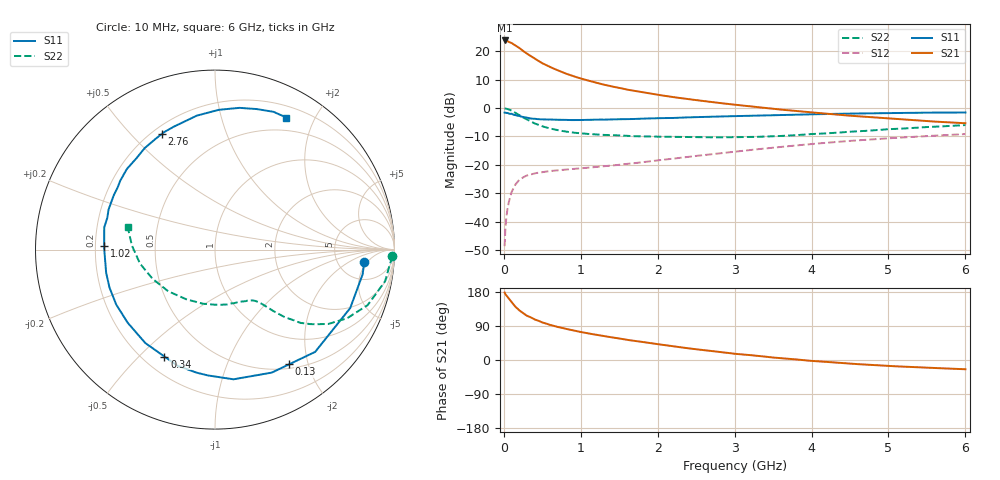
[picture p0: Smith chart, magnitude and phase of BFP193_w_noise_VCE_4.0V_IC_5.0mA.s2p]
! Infineon Technologies  Discrete & RF Semiconductors
! BFP193
! VCE = 4.0 V,  IC =  5.0 mA
! Common Emitter S-Parameters:  Jan 2016
# GHz  S  MA  R  50
!  f  S11  S21  S12  S22
! GHz  MAG  ANG  MAG  ANG  MAG  ANG  MAG  ANG
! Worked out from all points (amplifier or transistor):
!   210 points, 10 MHz to 6 GHz, reference 50 ohm
!   highest |S21| = 23.8 dB at 10 MHz (marker M1)
!   |S21| within 3 dB of that: start of sweep to 217.5 MHz
!   unconditionally stable (mu >= 1): 1.274 GHz to 3.55 GHz
!   at 185 MHz: K = 0.21, MSG = 23.6 dB, |S12| = -25.8 dB
!   at 1.52 GHz: K = 1.08, MAG = 11.8 dB, |S12| = -19.9 dB
!   at 6 GHz: K = 0.90, MSG = 1.9 dB, |S12| = -9.2 dB
!   lowest NFmin = 1.20 dB at 450 MHz
!   S11 on the Smith chart (normalised r, x): 10 MHz: 9.05, -4.24; 130 MHz: 0.56, -1.70; 340 MHz: 0.28, -0.60; 1.02 GHz: 0.24, +0.02; 2.76 GHz: 0.24, +0.61; 6 GHz: 0.33, +1.63
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0.01  0.8341 -4.9  15.54 178.0  0.0037 87.8  0.9885 -2.2
0.02  0.8341 -9.5  15.25 173.7  0.0074 86.9  0.98 -4.2
0.05  0.8207 -23.4  15.03 165.5  0.0176 78.1  0.9642 -10.5
0.1  0.7976 -45.6  14.08 152.6  0.0329 67.9  0.9051 -20.0
0.13  0.7611 -57.1  13.19 145.5  0.04 61.4  0.8578 -24.3
0.15  0.7549 -65.2  12.72 140.3  0.045 58.3  0.8293 -27.5
0.2  0.7299 -81.9  11.49 131.2  0.0543 51.8  0.7546 -33.3
0.26  0.6934 -98.4  9.941 121.9  0.0612 45.4  0.6725 -38.1
0.3  0.6798 -108.0  9.1 116.8  0.0651 42.7  0.6295 -40.5
0.34  0.6592 -115.3  8.41 113.4  0.0674 40.5  0.5924 -41.8
0.4  0.6494 -126.7  7.445 107.1  0.071 37.5  0.5375 -44.2
0.5  0.6346 -140.0  6.168 99.1  0.0746 34.5  0.477 -46.3
0.6  0.6298 -150.9  5.286 92.7  0.0779 32.9  0.4369 -47.7
0.8  0.6201 -167.9  4.082 82.5  0.0828 32.1  0.3866 -49.9
1.02  0.6177 178.0  3.265 73.2  0.0873 33.5  0.3576 -52.7
1.4  0.6336 159.4  2.409 59.9  0.097 36.4  0.3351 -58.9
2.02  0.6656 136.8  1.701 41.2  0.1209 40.8  0.3133 -72.9
2.76  0.7095 114.7  1.251 22.3  0.1574 41.4  0.3056 -94.7
3.1  0.7263 106.4  1.111 14.8  0.1769 40.3  0.3089 -106.3
4.1  0.7823 86.7  0.818 -3.7  0.2392 33.3  0.3536 -141.8
5.1  0.8193 72.2  0.646 -16.7  0.2993 22.6  0.4308 -172.3
6  0.8363 61.6  0.541 -24.4  0.3486 11.9  0.5026 165.4
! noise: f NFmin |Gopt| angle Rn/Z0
0.45  1.2  0.26  102  0.14
0.9  1.25  0.38  145  0.12
1.8  2.05  0.56  -161  0.12
